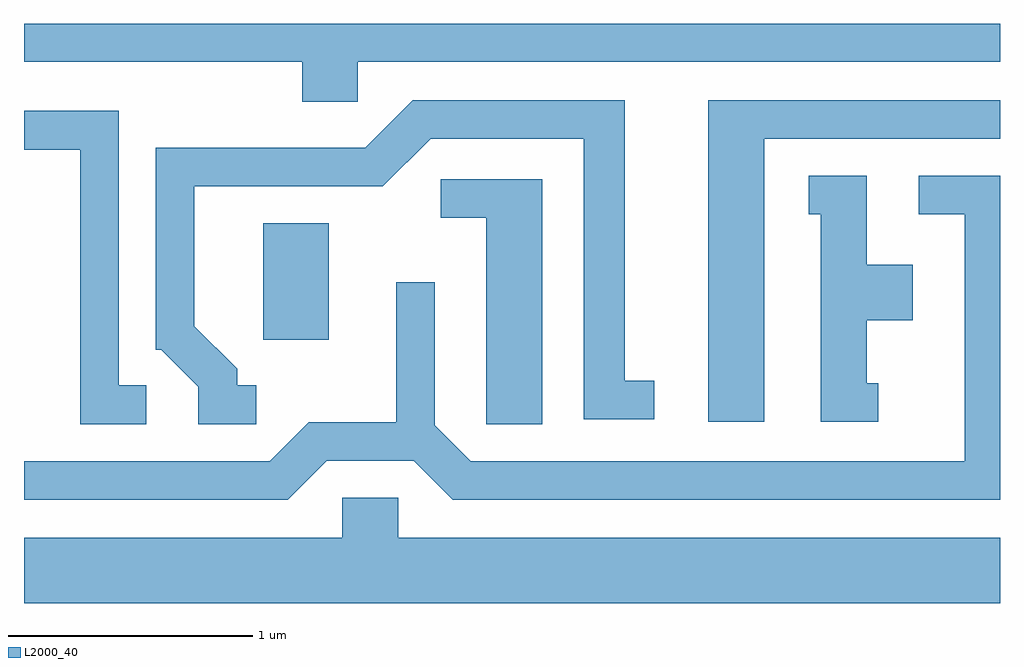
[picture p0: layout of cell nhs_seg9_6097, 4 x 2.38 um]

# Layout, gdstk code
import gdstk
lib = gdstk.Library(unit=1e-6, precision=1e-09)
def R(c, l, rs):  # rectangles x0, y0, x1, y1
    for r in rs: c.add(gdstk.rectangle(r[:2], r[2:], *l))
def P(c, l, *ps):  # polygons
    for p in ps: c.add(gdstk.Polygon(p, *l))
L2000_40 = (2000, 40)

nhs_seg9_6097 = lib.new_cell('nhs_seg9_6097')
R(nhs_seg9_6097, L2000_40, [(366.591,1975.136,366.859,1975.614)])
P(nhs_seg9_6097, L2000_40, [(366.979,1976.276),(369.611,1976.276),(369.611,1976.432),(365.611,1976.432),(365.611,1976.276),(366.751,1976.276),(366.751,1976.111),(366.979,1976.111)],
  [(368.644,1975.961),(369.611,1975.961),(369.611,1976.119),(368.416,1976.119),(368.416,1974.801),(368.644,1974.801)],
  [(366.563,1974.949),(366.484,1974.949),(366.484,1975.017),(366.309,1975.192),(366.309,1975.766),(367.082,1975.766),(367.277,1975.961),(367.906,1975.961),(367.906,1974.811),(368.193,1974.811),(368.193,1974.969),(368.074,1974.969),(368.074,1976.119),(367.204,1976.119),(367.009,1975.924),(366.151,1975.924),(366.151,1975.096),(366.174,1975.096),(366.326,1974.944),(366.326,1974.791),(366.563,1974.791)],
  [(366.113,1974.949),(365.999,1974.949),(365.999,1976.074),(365.611,1976.074),(365.611,1975.916),(365.841,1975.916),(365.841,1974.791),(366.113,1974.791)],
  [(369.113,1974.959),(369.064,1974.959),(369.064,1975.216),(369.254,1975.216),(369.254,1975.444),(369.064,1975.444),(369.064,1975.809),(368.828,1975.809),(368.828,1975.651),(368.876,1975.651),(368.876,1974.801),(369.113,1974.801)],
  [(366.852,1974.641),(367.209,1974.641),(367.369,1974.481),(369.611,1974.481),(369.611,1975.809),(369.278,1975.809),(369.278,1975.651),(369.466,1975.651),(369.466,1974.639),(367.442,1974.639),(367.294,1974.787),(367.294,1975.373),(367.136,1975.373),(367.136,1974.799),(366.779,1974.799),(366.619,1974.639),(365.611,1974.639),(365.611,1974.481),(366.692,1974.481)],
  [(367.734,1975.794),(367.318,1975.794),(367.318,1975.636),(367.506,1975.636),(367.506,1974.791),(367.734,1974.791)],
  [(369.611,1974.324),(367.144,1974.324),(367.144,1974.489),(366.916,1974.489),(366.916,1974.324),(365.611,1974.324),(365.611,1974.056),(369.611,1974.056)])

lib.write_gds('nhs_seg9_6097.gds')
